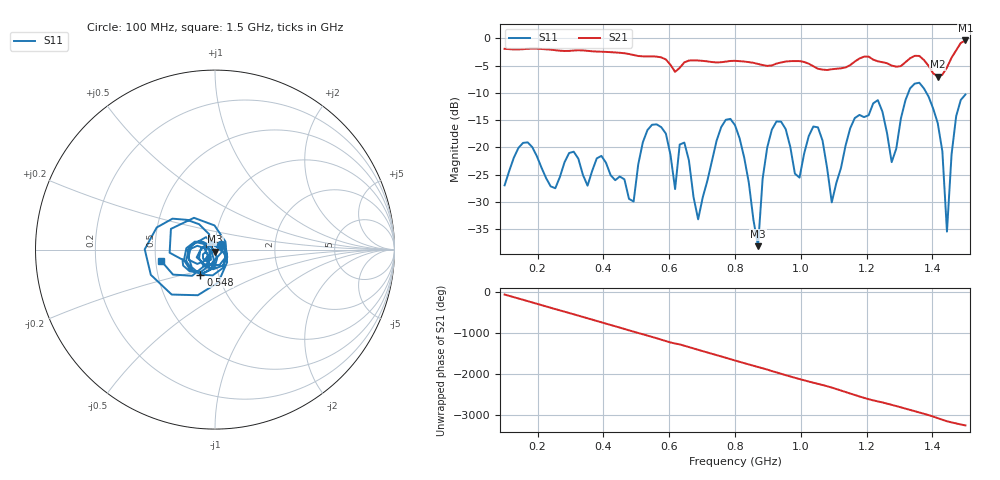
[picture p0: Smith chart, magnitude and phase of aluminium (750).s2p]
! NanoVNA-App
! Date: 2025-09-25 15:01:07
! Start: 100MHz Stop: 1,5GHz Points: 101
! S-Parameter data: F S11 S21 S12 S22
# Hz S RI R 50
!  Frequency  S11_Real  S11_Imag  S21_Real  S21_Imag  S12_Real  S12_Imag  S22_Real  S22_Imag
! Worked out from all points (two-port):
!   101 points, 100 MHz to 1.5 GHz, reference 50 ohm
!   highest |S21| = -0.39 dB at 1.5 GHz (marker M1); lowest = -7.0 dB at 1.416 GHz (marker M2)
!   |S21| within 3 dB of the highest: start of sweep to 566.1 MHz; 1.46 GHz to end of sweep (the widest 2 of 4)
!   lowest |S11| = -38.1 dB at 870 MHz (marker M3), VSWR 1.03, Z = 50 - j1.24 ohm
!   |S11| at or under -10 dB: start of sweep to 1.327 GHz; 1.382 GHz to end of sweep
!   S12 and S22 are empty: the file has one direction only
!   S11 on the Smith chart (normalised r, x): 100 MHz: 1.07, +0.06; 548 MHz: 0.82, -0.23; 1.5 GHz: 0.54, -0.08
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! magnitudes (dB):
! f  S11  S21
! 100 MHz  -27.0  -1.9
! 156 MHz  -19.2  -2.0
! 338 MHz  -25.1  -2.2
! 492 MHz  -29.9  -3.1
! 548 MHz  -15.8  -3.3
! 576 MHz  -16.3  -3.5
! 618 MHz  -27.6  -6.1
! 646 MHz  -19.1  -4.4
! 688 MHz  -33.2  -4.1
! 800 MHz  -15.9  -4.1
! 870 MHz  -38.1  -4.7
! 912 MHz  -16.7  -5.0
! 996 MHz  -25.5  -4.2
! 1.038 GHz  -16.2  -5.1
! 1.094 GHz  -30.1  -5.7
! 1.234 GHz  -11.3  -4.2
! 1.276 GHz  -22.7  -5.0
! 1.346 GHz  -8.3  -3.2
! 1.416 GHz  -15.6  -7.0
! 1.444 GHz  -35.4  -5.3
! 1.472 GHz  -14.3  -2.2
! 1.5 GHz  -10.3  -0.4
